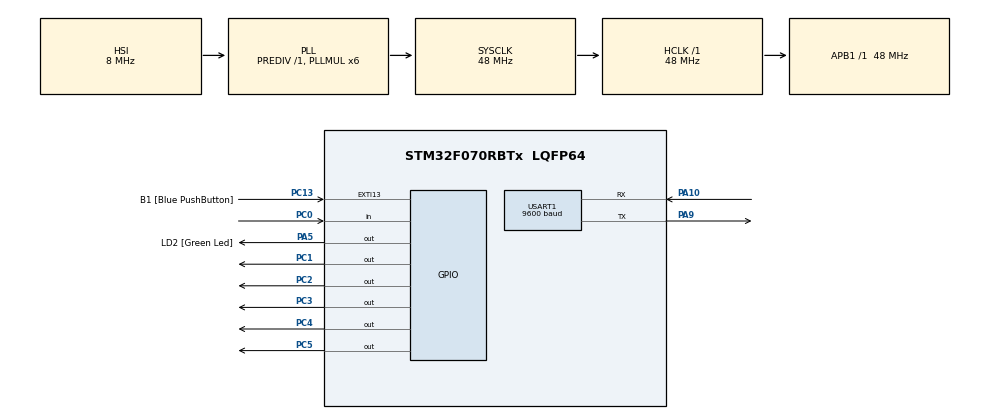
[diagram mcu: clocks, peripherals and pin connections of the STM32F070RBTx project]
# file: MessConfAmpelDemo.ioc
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Mcu.Family=STM32F0
Mcu.Name=STM32F070RBTx
Mcu.Package=LQFP64
NVIC.USART1_IRQn=true\:0\:0\:false\:false\:true
PA10.Mode=Asynchronous
PA10.Signal=USART1_RX
PA13.GPIO_Label=TMS
PA13.Mode=Serial_Wire
PA13.Signal=SYS_SWDIO
PA14.Mode=Serial_Wire
PA14.Signal=SYS_SWCLK
PA2.GPIO_Label=USART_TX
PA2.Signal=USART2_TX
PA3.GPIO_Label=USART_RX
PA3.Signal=USART2_RX
PA5.GPIO_Label=LD2 [Green Led]
PA5.Signal=GPIO_Output
PA9.Mode=Asynchronous
PA9.Signal=USART1_TX
PC0.Signal=GPIO_Input
PC1.Signal=GPIO_Output
PC13.GPIO_Label=B1 [Blue PushButton]
PC13.GPIO_ModeDefaultEXTI=GPIO_MODE_IT_FALLING
PC13.Signal=GPXTI13
PC14-OSC32_IN.GPIO_Label=RCC_OSC32_IN
PC14-OSC32_IN.Signal=RCC_OSC32_IN
PC15-OSC32_OUT.GPIO_Label=RCC_OSC32_OUT
PC15-OSC32_OUT.Signal=RCC_OSC32_OUT
PC2.Signal=GPIO_Output
PC3.Signal=GPIO_Output
PC4.Signal=GPIO_Output
PC5.Signal=GPIO_Output
PF0-OSC_IN.GPIO_Label=RCC_OSC_IN
PF0-OSC_IN.Signal=RCC_OSC_IN
PF1-OSC_OUT.GPIO_Label=RCC_OSC_OUT
PF1-OSC_OUT.Signal=RCC_OSC_OUT
ProjectManager.HeapSize=0x200
ProjectManager.StackSize=0x400
ProjectManager.TargetToolchain=SW4STM32
RCC.AHBFreq_Value=48000000
RCC.APB1Freq_Value=48000000
RCC.APB1TimFreq_Value=48000000
RCC.CECEnable=false
RCC.ClockTypeHCLK=RCC_CLOCKTYPE_HCLK
RCC.ClockTypePCLK1=RCC_CLOCKTYPE_PCLK1
RCC.DATA_CACHE_ENABLE=0
RCC.EnableHSE=false
RCC.EnableHSERTCDevisor=false
RCC.EnableLSE=false
RCC.EnableLSERTC=false
RCC.EnableMCOMultDivisor=false
RCC.HCLKFreq_Value=48000000
RCC.HSEState=RCC_HSE_OFF
RCC.HSI14State=RCC_HSI14_OFF
RCC.HSI48State=RCC_HSI48_OFF
RCC.HSIState=RCC_HSI_ON
RCC.I2C1Enable=false
RCC.INSTRUCTION_CACHE_ENABLE=0
RCC.IWDGEnable=false
RCC.LSIState=RCC_LSI_OFF
RCC.MCOEnable=false
RCC.OscillatorTypeHSI=RCC_OSCILLATORTYPE_HSI
RCC.PLLMUL=RCC_PLL_MUL6
RCC.PLLSource=RCC_PLLSOURCE_HSI
RCC.PLLSourceVirtual=RCC_PLLSOURCE_HSI
RCC.PLLState=RCC_PLL_ON
RCC.RCC_PERIPHCLK_USART1Var=RCC_PERIPHCLK_USART1
RCC.RTCEnable=false
RCC.SYSCLKFreq_VALUE=48000000
RCC.SYSCLKSource=RCC_SYSCLKSOURCE_PLLCLK
RCC.USART1Enable=true
RCC.USART2Enable=false
RCC.USBEnable=false
USART1.BaudRate=9600
USART1.HwFlowCtl-Asynchronous=UART_HWCONTROL_NONE
USART1.VirtualMode-Asynchronous=VM_ASYNC
USART1.WordLength=WORDLENGTH_8B
board=NUCLEO-F070RB

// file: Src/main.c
/**
  ******************************************************************************
  * File Name          : main.c
  * Description        : Main program body
  ******************************************************************************
  *
  * COPYRIGHT(c) 2017 STMicroelectronics
  *
  * Redistribution and use in source and binary forms, with or without modification,
  * are permitted provided that the following conditions are met:
  *   1. Redistributions of source code must retain the above copyright notice,
  *      this list of conditions and the following disclaimer.
  *   2. Redistributions in binary form must reproduce the above copyright notice,
  *      this list of conditions and the following disclaimer in the documentation
  *      and/or other materials provided with the distribution.
  *   3. Neither the name of STMicroelectronics nor the names of its contributors
  *      may be used to endorse or promote products derived from this software
  *      without specific prior written permission.
  *
  * THIS SOFTWARE IS PROVIDED BY THE COPYRIGHT HOLDERS AND CONTRIBUTORS "AS IS"
  * AND ANY EXPRESS OR IMPLIED WARRANTIES, INCLUDING, BUT NOT LIMITED TO, THE
  * IMPLIED WARRANTIES OF MERCHANTABILITY AND FITNESS FOR A PARTICULAR PURPOSE ARE
  * DISCLAIMED. IN NO EVENT SHALL THE COPYRIGHT HOLDER OR CONTRIBUTORS BE LIABLE
  * FOR ANY DIRECT, INDIRECT, INCIDENTAL, SPECIAL, EXEMPLARY, OR CONSEQUENTIAL
  * DAMAGES (INCLUDING, BUT NOT LIMITED TO, PROCUREMENT OF SUBSTITUTE GOODS OR
  * SERVICES; LOSS OF USE, DATA, OR PROFITS; OR BUSINESS INTERRUPTION) HOWEVER
  * CAUSED AND ON ANY THEORY OF LIABILITY, WHETHER IN CONTRACT, STRICT LIABILITY,
  * OR TORT (INCLUDING NEGLIGENCE OR OTHERWISE) ARISING IN ANY WAY OUT OF THE USE
  * OF THIS SOFTWARE, EVEN IF ADVISED OF THE POSSIBILITY OF SUCH DAMAGE.
  *
  ******************************************************************************
  */
#include "main.h"
#include "stm32f0xx_hal.h"

/* USER CODE BEGIN Includes */

//#include "DSerialBuffer.h"

#define UART1_UART_STATE_RECEIVING_BYTE		0x01
#define UART1_UART_STATE_RECEIVING_FRAME	0x02

/* USER CODE END Includes */

UART_HandleTypeDef huart1;

/* USER CODE BEGIN PV */
/* Private variables ---------------------------------------------------------*/
uint8_t UART1_rxBuffer[10];
uint8_t UART1_txBuffer[10];

PInterruptConjPort *UART1_uartPort = NULL;
PInterruptConjPort *UART1_uartErrorPort = NULL;

uint8_t UART1_uartState = 0;

/* USER CODE END PV */

void SystemClock_Config(void);
void Error_Handler(void);
static void MX_GPIO_Init(void);
static void MX_USART1_UART_Init(void);

/* USER CODE BEGIN PFP */
/* Private function prototypes -----------------------------------------------*/
void etStart(void);

/* USER CODE END PFP */

/* USER CODE BEGIN 0 */

uint8_t UART_getCs(uint8_t * buffer, uint8_t len){
uint8_t c;
	c = 0;
    for(uint8_t i=0;i < len; i++){
        c ^= buffer[i];
     }
     return c;
}

//UART callbacks:
void HAL_UART_TxCpltCallback(UART_HandleTypeDef *huart)
{
	if (USART1 == huart->Instance){
	}
}

void HAL_UART_RxCpltCallback(UART_HandleTypeDef *huart)
{

	if (USART1 == huart->Instance){
		if (UART1_uartState == UART1_UART_STATE_RECEIVING_BYTE){
			if (UART1_uartPort != NULL ){
				PInterruptConjPort_fire(UART1_uartPort);
			}
		}

		if (UART1_uartState == UART1_UART_STATE_RECEIVING_FRAME){
			if (UART_getCs(UART1_rxBuffer,5) == UART1_rxBuffer[5]){ // hier noch generalisieren, dass der general UART auch ohne CS und mit variabler Länge verwendet werden kann
				if (UART1_uartPort != NULL ){
					PInterruptConjPort_fire(UART1_uartPort);
				}
			}else{
				if (UART1_uartErrorPort != NULL ){
					PInterruptConjPort_fire(UART1_uartErrorPort);
				}
			}
		}
		UART1_uartState = 0;
	}
}

void UART1_registerUartPort(PInterruptConjPort *p){
	UART1_uartPort=p;
}

void UART1_registerUartErrorPort(PInterruptConjPort *p){
	UART1_uartErrorPort=p;
}

uint8_t * UART1_getRxBuffer(void){
	return UART1_rxBuffer;
}

void UART1_initUart(void){
	MX_USART1_UART_Init();
}

void UART1_receiveByte(void){
	UART1_uartState = UART1_UART_STATE_RECEIVING_BYTE;
	HAL_UART_Receive_IT(&huart1, UART1_rxBuffer, 1);
}

void UART1_receiveFrame(void){
	UART1_uartState = UART1_UART_STATE_RECEIVING_FRAME;
	HAL_UART_Receive_IT(&huart1, UART1_rxBuffer, 6);
}

void UART1_sendByte(uint8_t byte){
	UART1_txBuffer[0] = byte;
	HAL_UART_Transmit_IT(&huart1, UART1_txBuffer, 1);
}

void UART1_sendFrame(uint8_t * buffer){
uint8_t *p = buffer;

	for (uint8_t i = 0; i<6; i++ ){
		UART1_txBuffer[i] = *p++;
	}

	UART1_txBuffer[5] = UART_getCs(UART1_txBuffer,5);
	HAL_UART_Transmit_IT(&huart1, UART1_txBuffer, 6);
}

/* USER CODE END 0 */

int main(void)
{

  /* MCU Configuration----------------------------------------------------------*/

  /* Reset of all peripherals, Initializes the Flash interface and the Systick. */
  HAL_Init();

  /* Configure the system clock */
  SystemClock_Config();

  /* Initialize all configured peripherals */
  MX_GPIO_Init();
  MX_USART1_UART_Init();

  /* USER CODE BEGIN 2 */
  etStart();

  /* USER CODE END 2 */

  /* Infinite loop */
  /* USER CODE BEGIN WHILE */
  HAL_GPIO_WritePin(GPIOC, GPIO_PIN_1, GPIO_PIN_RESET);
  HAL_GPIO_WritePin(GPIOC, GPIO_PIN_2, GPIO_PIN_RESET);
  HAL_GPIO_WritePin(GPIOC, GPIO_PIN_3, GPIO_PIN_RESET);
  HAL_GPIO_WritePin(GPIOC, GPIO_PIN_4, GPIO_PIN_RESET);
  HAL_GPIO_WritePin(GPIOC, GPIO_PIN_5, GPIO_PIN_RESET);

  while (1)
  {
  /* USER CODE END WHILE */

  /* USER CODE BEGIN 3 */
//	  if ((HAL_GPIO_ReadPin(GPIOC, GPIO_PIN_0) == GPIO_PIN_SET)){
		  HAL_Delay(1000);
		  HAL_GPIO_WritePin(GPIOC, GPIO_PIN_1, GPIO_PIN_RESET);
		  HAL_GPIO_WritePin(GPIOC, GPIO_PIN_2, GPIO_PIN_SET);
		  // LED
		  HAL_GPIO_WritePin(GPIOA, GPIO_PIN_5, GPIO_PIN_SET);
		  HAL_Delay(1000);
		  HAL_GPIO_WritePin(GPIOC, GPIO_PIN_2, GPIO_PIN_RESET);
		  HAL_GPIO_WritePin(GPIOC, GPIO_PIN_3, GPIO_PIN_SET);
		  // LED
		  HAL_GPIO_WritePin(GPIOA, GPIO_PIN_5, GPIO_PIN_RESET);

		  HAL_Delay(1000);
		  HAL_GPIO_WritePin(GPIOC, GPIO_PIN_3, GPIO_PIN_RESET);
		  HAL_GPIO_WritePin(GPIOC, GPIO_PIN_4, GPIO_PIN_SET);
		  // LED
		  HAL_GPIO_WritePin(GPIOA, GPIO_PIN_5, GPIO_PIN_SET);

		  HAL_Delay(1000);
		  HAL_GPIO_WritePin(GPIOC, GPIO_PIN_4, GPIO_PIN_RESET);
		  HAL_GPIO_WritePin(GPIOC, GPIO_PIN_5, GPIO_PIN_SET);
		  // LED
		  HAL_GPIO_WritePin(GPIOA, GPIO_PIN_5, GPIO_PIN_RESET);

		  HAL_Delay(1000);
		  HAL_GPIO_WritePin(GPIOC, GPIO_PIN_5, GPIO_PIN_RESET);
		  HAL_GPIO_WritePin(GPIOC, GPIO_PIN_1, GPIO_PIN_SET);
	  //}
  }
  /* USER CODE END 3 */

}

/** System Clock Configuration
*/
void SystemClock_Config(void)
{

  RCC_OscInitTypeDef RCC_OscInitStruct;
  RCC_ClkInitTypeDef RCC_ClkInitStruct;
  RCC_PeriphCLKInitTypeDef PeriphClkInit;

    /**Initializes the CPU, AHB and APB busses clocks
    */
  RCC_OscInitStruct.OscillatorType = RCC_OSCILLATORTYPE_HSI;
  RCC_OscInitStruct.HSIState = RCC_HSI_ON;
  RCC_OscInitStruct.HSICalibrationValue = 16;
  RCC_OscInitStruct.PLL.PLLState = RCC_PLL_ON;
  RCC_OscInitStruct.PLL.PLLSource = RCC_PLLSOURCE_HSI;
  RCC_OscInitStruct.PLL.PLLMUL = RCC_PLL_MUL6;
  RCC_OscInitStruct.PLL.PREDIV = RCC_PREDIV_DIV1;
  if (HAL_RCC_OscConfig(&RCC_OscInitStruct) != HAL_OK)
  {
    Error_Handler();
  }

    /**Initializes the CPU, AHB and APB busses clocks
    */
  RCC_ClkInitStruct.ClockType = RCC_CLOCKTYPE_HCLK|RCC_CLOCKTYPE_SYSCLK
                              |RCC_CLOCKTYPE_PCLK1;
  RCC_ClkInitStruct.SYSCLKSource = RCC_SYSCLKSOURCE_PLLCLK;
  RCC_ClkInitStruct.AHBCLKDivider = RCC_SYSCLK_DIV1;
  RCC_ClkInitStruct.APB1CLKDivider = RCC_HCLK_DIV1;

  if (HAL_RCC_ClockConfig(&RCC_ClkInitStruct, FLASH_LATENCY_1) != HAL_OK)
  {
    Error_Handler();
  }

  PeriphClkInit.PeriphClockSelection = RCC_PERIPHCLK_USART1;
  PeriphClkInit.Usart1ClockSelection = RCC_USART1CLKSOURCE_PCLK1;
  if (HAL_RCCEx_PeriphCLKConfig(&PeriphClkInit) != HAL_OK)
  {
    Error_Handler();
  }

    /**Configure the Systick interrupt time
    */
  HAL_SYSTICK_Config(HAL_RCC_GetHCLKFreq()/1000);

    /**Configure the Systick
    */
  HAL_SYSTICK_CLKSourceConfig(SYSTICK_CLKSOURCE_HCLK);

  /* SysTick_IRQn interrupt configuration */
  HAL_NVIC_SetPriority(SysTick_IRQn, 0, 0);
}

/* USART1 init function */
static void MX_USART1_UART_Init(void)
{

  huart1.Instance = USART1;
  huart1.Init.BaudRate = 9600;
  huart1.Init.WordLength = UART_WORDLENGTH_8B;
  huart1.Init.StopBits = UART_STOPBITS_1;
  huart1.Init.Parity = UART_PARITY_NONE;
  huart1.Init.Mode = UART_MODE_TX_RX;
  huart1.Init.HwFlowCtl = UART_HWCONTROL_NONE;
  huart1.Init.OverSampling = UART_OVERSAMPLING_16;
  huart1.Init.OneBitSampling = UART_ONE_BIT_SAMPLE_DISABLE;
  huart1.AdvancedInit.AdvFeatureInit = UART_ADVFEATURE_NO_INIT;
  if (HAL_UART_Init(&huart1) != HAL_OK)
  {
    Error_Handler();
  }

}

/** Configure pins as
        * Analog
        * Input
        * Output
        * EVENT_OUT
        * EXTI
     PA2   ------> USART2_TX
     PA3   ------> USART2_RX
*/
static void MX_GPIO_Init(void)
{

  GPIO_InitTypeDef GPIO_InitStruct;

  /* GPIO Ports Clock Enable */
  __HAL_RCC_GPIOC_CLK_ENABLE();
  __HAL_RCC_GPIOF_CLK_ENABLE();
  __HAL_RCC_GPIOA_CLK_ENABLE();

  /*Configure GPIO pin Output Level */
  HAL_GPIO_WritePin(GPIOC, GPIO_PIN_1|GPIO_PIN_2|GPIO_PIN_3|GPIO_PIN_4
                          |GPIO_PIN_5, GPIO_PIN_RESET);

  /*Configure GPIO pin Output Level */
  HAL_GPIO_WritePin(LD2_GPIO_Port, LD2_Pin, GPIO_PIN_RESET);

  /*Configure GPIO pin : B1_Pin */
  GPIO_InitStruct.Pin = B1_Pin;
  GPIO_InitStruct.Mode = GPIO_MODE_IT_FALLING;
  GPIO_InitStruct.Pull = GPIO_NOPULL;
  HAL_GPIO_Init(B1_GPIO_Port, &GPIO_InitStruct);

  /*Configure GPIO pin : PC0 */
  GPIO_InitStruct.Pin = GPIO_PIN_0;
  GPIO_InitStruct.Mode = GPIO_MODE_INPUT;
  GPIO_InitStruct.Pull = GPIO_NOPULL;
  HAL_GPIO_Init(GPIOC, &GPIO_InitStruct);

  /*Configure GPIO pins : PC1 PC2 PC3 PC4
                           PC5 */
  GPIO_InitStruct.Pin = GPIO_PIN_1|GPIO_PIN_2|GPIO_PIN_3|GPIO_PIN_4
                          |GPIO_PIN_5;
  GPIO_InitStruct.Mode = GPIO_MODE_OUTPUT_PP;
  GPIO_InitStruct.Pull = GPIO_NOPULL;
  GPIO_InitStruct.Speed = GPIO_SPEED_FREQ_LOW;
  HAL_GPIO_Init(GPIOC, &GPIO_InitStruct);

  /*Configure GPIO pins : USART_TX_Pin USART_RX_Pin */
  GPIO_InitStruct.Pin = USART_TX_Pin|USART_RX_Pin;
  GPIO_InitStruct.Mode = GPIO_MODE_AF_PP;
  GPIO_InitStruct.Pull = GPIO_NOPULL;
  GPIO_InitStruct.Speed = GPIO_SPEED_FREQ_HIGH;
  GPIO_InitStruct.Alternate = GPIO_AF1_USART2;
  HAL_GPIO_Init(GPIOA, &GPIO_InitStruct);

  /*Configure GPIO pin : LD2_Pin */
  GPIO_InitStruct.Pin = LD2_Pin;
  GPIO_InitStruct.Mode = GPIO_MODE_OUTPUT_PP;
  GPIO_InitStruct.Pull = GPIO_NOPULL;
  GPIO_InitStruct.Speed = GPIO_SPEED_FREQ_LOW;
  HAL_GPIO_Init(LD2_GPIO_Port, &GPIO_InitStruct);

}

void Error_Handler(void)
{
  while(1)
  {
  }
}

/************************ (C) COPYRIGHT STMicroelectronics *****END OF FILE****/
